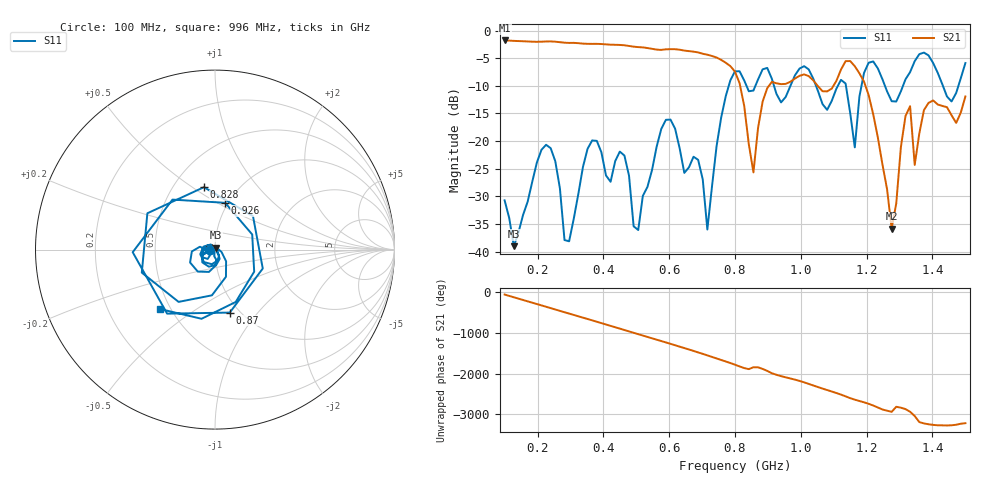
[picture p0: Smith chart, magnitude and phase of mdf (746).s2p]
! NanoVNA-App
! Date: 2025-09-25 15:44:13
! Start: 100MHz Stop: 1,5GHz Points: 101
! S-Parameter data: F S11 S21 S12 S22
# Hz S RI R 50
!  Frequency  S11_Real  S11_Imag  S21_Real  S21_Imag  S12_Real  S12_Imag  S22_Real  S22_Imag
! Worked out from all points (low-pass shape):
!   101 points, 100 MHz to 1.5 GHz, reference 50 ohm
!   highest |S21| = -1.80 dB at 100 MHz (marker M1); lowest = -35.8 dB at 1.276 GHz (marker M2)
!   |S21| within 3 dB of the highest: start of sweep to 739.5 MHz
!   lowest |S11| = -39.0 dB at 128 MHz (marker M3), VSWR 1.02, Z = 50.3 + j1.07 ohm
!   |S11| at or under -10 dB: start of sweep to 781.1 MHz; 918.4 MHz to 968.5 MHz (50.03 MHz wide, 5.3 % of centre); 1.046 GHz to 1.113 GHz (66.62 MHz wide, 6.17 % of centre) (the widest 3 of 7)
!   S12 and S22 are empty: the file has one direction only
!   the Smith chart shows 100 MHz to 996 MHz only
!   S11 on the Smith chart (normalised r, x): 100 MHz: 0.94, -0.01; 828 MHz: 0.70, +0.56; 870 MHz: 0.90, -0.73; 926 MHz: 0.97, +0.54; 996 MHz: 0.44, -0.36
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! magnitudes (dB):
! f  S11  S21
! 100 MHz  -30.7  -1.8
! 128 MHz  -39.0  -1.9
! 212 MHz  -21.6  -2.0
! 282 MHz  -37.9  -2.2
! 338 MHz  -24.7  -2.4
! 464 MHz  -22.6  -2.7
! 506 MHz  -36.1  -3.0
! 576 MHz  -17.8  -3.5
! 716 MHz  -36.0  -4.4
! 800 MHz  -7.4  -7.4
! 828 MHz  -9.0  -13.6
! 856 MHz  -10.9  -25.7
! 870 MHz  -8.9  -17.6
! 926 MHz  -11.5  -9.6
! 996 MHz  -6.9  -8.2
! 1.038 GHz  -8.7  -9.0
! 1.164 GHz  -21.1  -6.5
! 1.192 GHz  -7.7  -9.3
! 1.276 GHz  -12.8  -35.8
! 1.332 GHz  -7.5  -13.7
! 1.346 GHz  -5.6  -24.3
! 1.5 GHz  -5.9  -11.9
